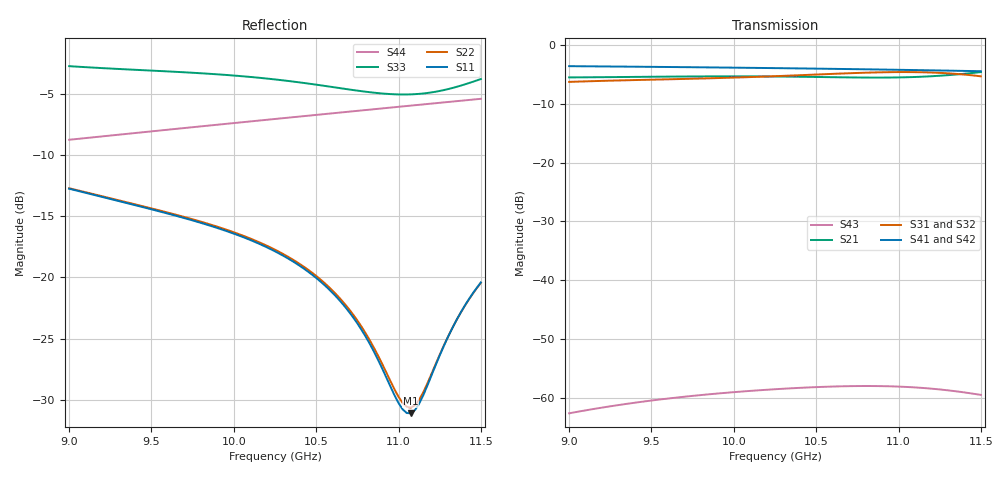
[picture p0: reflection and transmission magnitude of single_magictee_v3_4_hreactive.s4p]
! Touchstone file exported from HFSS 2025.2.4
!  File:  //wsl.localhost/Ubuntu/tmp/hfss-r11/hfss/output_v3_4_jacobian/h_cap_height_minus/single_magictee_v3_4_hreactive.aedt
!  Generated:  03:03:35 PM Sep 22, 2026
!  Design:  SingleMagicT_v3_4_HReactiveCell
!  Project:  single_magictee_v3_4_hreactive
! Variables:
!  f_adapt = 10.2GHz
!  h_cap_height = 8.6mm
!  h_cap_len = 2.5mm
!  h_terminal_ridge_w = 4.572mm
!  h_throat_a = 20.4mm
!  h_throat_len = 5.5mm
!  ridge_g1 = 7.672mm
!  ridge_g2 = 5.8mm
!  ridge_l1 = 9.872mm
!  ridge_l2 = 8.857mm
!  ridge_w = 4.572mm
!  terminal_ridge_len = 7.5mm
!  wg_a = 22.86mm
!  wg_b = 10.16mm
!Data is not renormalized
# GHz S MA
! Terminal data exported
! Port[1] = P1_CollinearMinusX
! Port[2] = P2_CollinearPlusX
! Port[3] = P3_HArm_Ridged
! Port[4] = P4_EArm
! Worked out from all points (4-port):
!   101 points, 9 GHz to 11.5 GHz, reference per port
!   strongest paths, dB at 9 GHz, 9.625 GHz, 10.25 GHz, 10.88 GHz, 11.5 GHz:
!     S41: -3.6, -3.8, -4.0, -4.2, -4.5
!     S42: -3.6, -3.8, -4.0, -4.2, -4.5
!     S31: -6.3, -5.8, -5.3, -4.7, -5.4
!     S32: -6.3, -5.9, -5.3, -4.7, -5.4
!     S21: -5.5, -5.4, -5.4, -5.6, -4.6
!     S43: -62.6, -60.0, -58.5, -58.0, -59.5
!   lowest |S11| = -31.1 dB at 11.07 GHz (marker M1), VSWR 1.06
!   |S11| at or under -10 dB: start of sweep to end of sweep
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9  0.2303 150.2  0.5285 -174.8  0.484 62.8  0.6583 45.9
   0.5285 -174.8  0.2315 149.9  0.4835 62.7  0.6583 -134.2
   0.484 62.8  0.4835 62.7  0.7294 130.8  0.0007398 -44.8
   0.6583 45.9  0.6583 -134.2  0.0007398 -44.8  0.365 -115.0
9.325  0.2032 114.4  0.5326 149.4  0.4988 17.7  0.6529 8.7
       0.5326 149.4  0.2047 114.1  0.4984 17.6  0.6527 -171.5
       0.4988 17.7  0.4984 17.6  0.7091 75.4  0.0008799 -95.0
       0.6529 8.7  0.6527 -171.5  0.0008799 -95.0  0.3843 -149.9
9.7  0.1747 73.8  0.5378 109.1  0.513 -33.3  0.6458 -32.9
     0.5378 109.1  0.1765 73.6  0.5126 -33.5  0.6456 146.9
     0.513 -33.3  0.5126 -33.5  0.6885 12.6  0.001023 -153.6
     0.6458 -32.9  0.6456 146.9  0.001023 -153.6  0.4076 170.5
10.275  0.1253 10.9  0.5374 49.4  0.5429 -110.8  0.6331 -94.6
        0.5374 49.4  0.1272 10.9  0.5425 -111.0  0.633 85.2
        0.5429 -110.8  0.5425 -111.0  0.641 -84.2  0.001191 117.3
        0.6331 -94.6  0.633 85.2  0.001191 117.3  0.4456 111.0
10.725  0.06862 -34.8  0.528 5.9  0.5749 -173.9  0.6213 -141.7
        0.528 5.9  0.07044 -34.4  0.5745 -174.0  0.6214 38.1
        0.5749 -173.9  0.5745 -174.0  0.5827 -169.3  0.00126 47.9
        0.6213 -141.7  0.6214 38.1  0.00126 47.9  0.4773 65.2
11.075  0.02787 -12.5  0.5314 -24.8  0.5863 133.6  0.6108 -177.8
        0.5314 -24.8  0.0294 -14.8  0.5858 133.4  0.6112 2.0
        0.5863 133.6  0.5858 133.4  0.5595 111.3  0.001233 -5.6
        0.6108 -177.8  0.6112 2.0  0.001233 -5.6  0.5033 29.7
11.5  0.09544 -6.1  0.5863 -61.2  0.5398 65.9  0.5965 138.8
      0.5863 -61.2  0.09509 -7.3  0.5393 65.8  0.597 -41.5
      0.5398 65.9  0.5393 65.8  0.6463 6.0  0.001061 -65.5
      0.5965 138.8  0.597 -41.5  0.001061 -65.5  0.5365 -13.2
